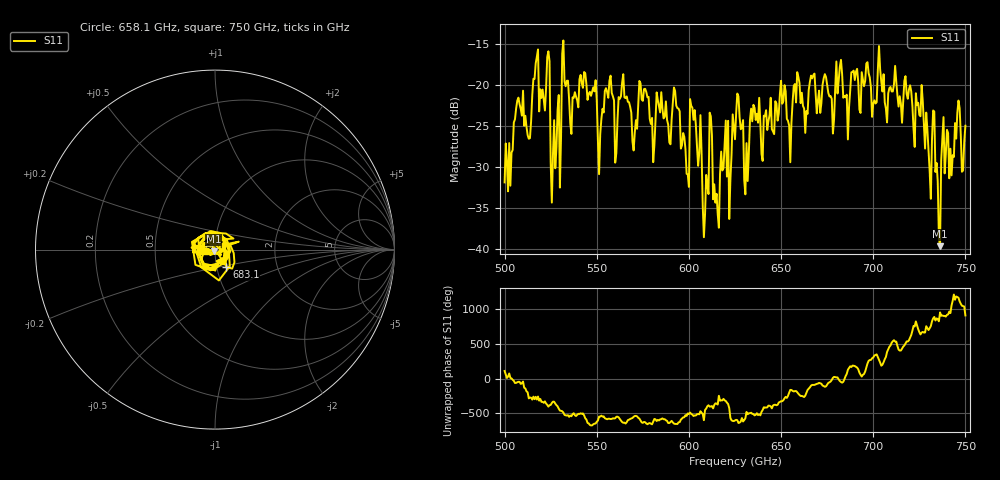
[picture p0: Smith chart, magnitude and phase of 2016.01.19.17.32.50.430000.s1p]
!Created with skrf (http://scikit-rf.org).
# GHz S RI R 50.0
!freq ReS11 ImS11
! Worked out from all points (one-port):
!   401 points, 500 GHz to 750 GHz, reference 50 ohm
!   lowest |S11| = -39.7 dB at 736.2 GHz (marker M1), VSWR 1.02, Z = 49.4 - j0.837 ohm
!   |S11| at or under -10 dB: start of sweep to end of sweep
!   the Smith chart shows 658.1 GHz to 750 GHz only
!   S11 on the Smith chart (normalised r, x): 658.1 GHz: 0.85, -0.00; 683.1 GHz: 1.11, -0.22; 750 GHz: 0.89, -0.02
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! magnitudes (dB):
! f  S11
! 500 GHz  -31.9
! 507.5 GHz  -21.5
! 513.1 GHz  -26.6
! 516.9 GHz  -17.3
! 523.1 GHz  -16.6
! 526.2 GHz  -28.4
! 531.2 GHz  -16.2
! 542.5 GHz  -20.3
! 551.9 GHz  -26.0
! 562.5 GHz  -21.7
! 593.8 GHz  -22.8
! 598.8 GHz  -30.8
! 601.9 GHz  -22.8
! 608.8 GHz  -35.7
! 611.2 GHz  -23.4
! 615 GHz  -33.3
! 625 GHz  -26.6
! 631.2 GHz  -27.1
! 634.4 GHz  -24.4
! 656.2 GHz  -22.1
! 658.1 GHz  -22.1
! 683.1 GHz  -18.7
! 687.5 GHz  -20.7
! 718.8 GHz  -21.7
! 733.1 GHz  -23.2
! 736.2 GHz  -39.7
! 738.8 GHz  -30.8
! 750 GHz  -25.0
